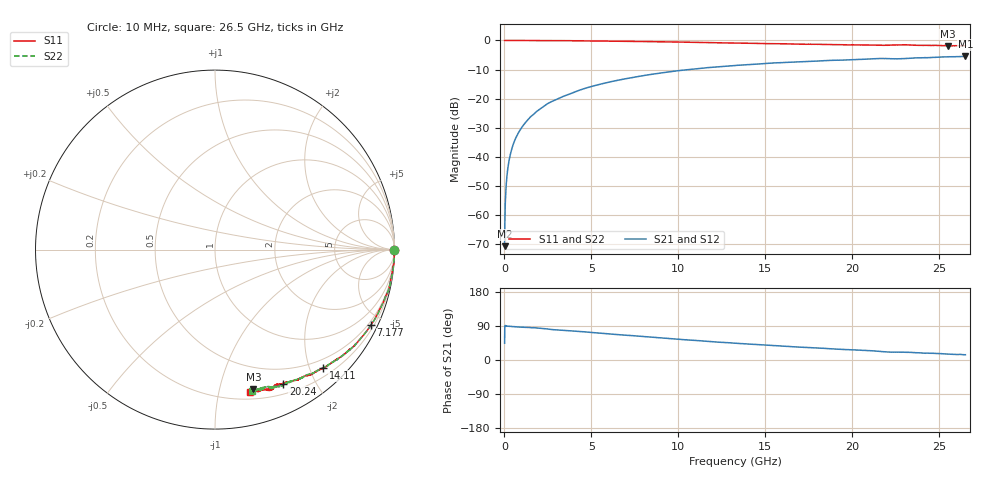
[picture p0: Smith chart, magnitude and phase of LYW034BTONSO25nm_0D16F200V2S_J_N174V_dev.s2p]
!Keysight Technologies,N5222B,MY61253708,A.15.00.15
!Date: Wednesday, June 19, 2024 10:26:45
!Correction: S11(C  2-Port  )
!S21(C  2-Port  )
!S12(C  2-Port  )
!S22(C  2-Port  )
!S2P File: Measurements: S11, S21, S12, S22:
# Hz S  RI  R 50
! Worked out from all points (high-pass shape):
!   2651 points, 10 MHz to 26.5 GHz, reference 50 ohm
!   highest |S21| = -5.46 dB at 26.5 GHz (marker M1); lowest = -70.7 dB at 10 MHz (marker M2)
!   |S21| within 3 dB of the highest: 13.63 GHz to end of sweep
!   lowest |S11| = -1.9 dB at 25.5 GHz (marker M3), VSWR 9.31, Z = 14.3 - j63.6 ohm
!   |S11| at or under -10 dB: nowhere
!   |S22| runs from -1.8 to 0.0 dB; largest |S21 - S12| = 0.0069
!   S11 on the Smith chart (normalised r, x): 10 MHz: open; 7.177 GHz: 0.35, -4.33; 14.11 GHz: 0.34, -2.23; 20.24 GHz: 0.32, -1.59; 26.5 GHz: 0.26, -1.24
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1e7  0.9985 -0.00317  0.000208 0.000203  -0.000319 0.0003  0.9985 -0.00189
6.997736e7  1 -0.00508  1.7e-05 0.00224  6.38e-06 0.00228  0.9997 -0.00475
1.599434e8  0.9999 -0.0111  6e-05 0.00521  4.47e-05 0.00521  0.9996 -0.0105
1.999283e8  1 -0.0133  8.58e-05 0.00648  9.91e-05 0.0065  0.9997 -0.0126
2.599057e8  0.9998 -0.0173  0.000151 0.00844  9.83e-05 0.00842  0.9996 -0.0165
3.598679e8  0.9996 -0.0242  0.000266 0.0117  0.000263 0.0117  0.9995 -0.0235
4.898189e8  0.9986 -0.0324  0.0005 0.0158  0.000501 0.0159  0.9987 -0.0313
6.497585e8  0.9986 -0.0422  0.000866 0.021  0.000859 0.0211  0.9986 -0.0413
8.396868e8  0.9978 -0.0546  0.00141 0.027  0.00143 0.0271  0.9981 -0.0543
1.459453e9  0.9911 -0.0962  0.00343 0.0473  0.00343 0.0473  0.9935 -0.0925
2.339121e9  0.9824 -0.1495  0.00961 0.0765  0.00971 0.0767  0.9836 -0.1497
3.218789e9  0.9722 -0.2046  0.0203 0.1022  0.0204 0.1024  0.9725 -0.2038
4.428332e9  0.9449 -0.2758  0.0368 0.1388  0.037 0.1392  0.9466 -0.2733
7.177294e9  0.8682 -0.421  0.096 0.204  0.097 0.2041  0.8699 -0.4199
8.846664e9  0.81 -0.4963  0.1403 0.2336  0.1411 0.2336  0.8115 -0.4949
1.3255e10  0.6382 -0.638  0.2651 0.2597  0.2665 0.259  0.6414 -0.6371
1.411468e10  0.6045 -0.6598  0.2875 0.2574  0.2886 0.2566  0.609 -0.6556
1.767333e10  0.4686 -0.7205  0.3707 0.2346  0.3732 0.2328  0.4779 -0.7182
2.024236e10  0.3816 -0.747  0.4219 0.2078  0.4237 0.2059  0.3944 -0.7454
2.209166e10  0.3339 -0.7568  0.4542 0.1746  0.4552 0.172  0.3265 -0.7628
2.550038e10  0.214 -0.7771  0.5043 0.1393  0.5049 0.1393  0.2337 -0.7791
2.65e10  0.1947 -0.7916  0.5179 0.1285  0.5166 0.1249  0.2069 -0.7896
